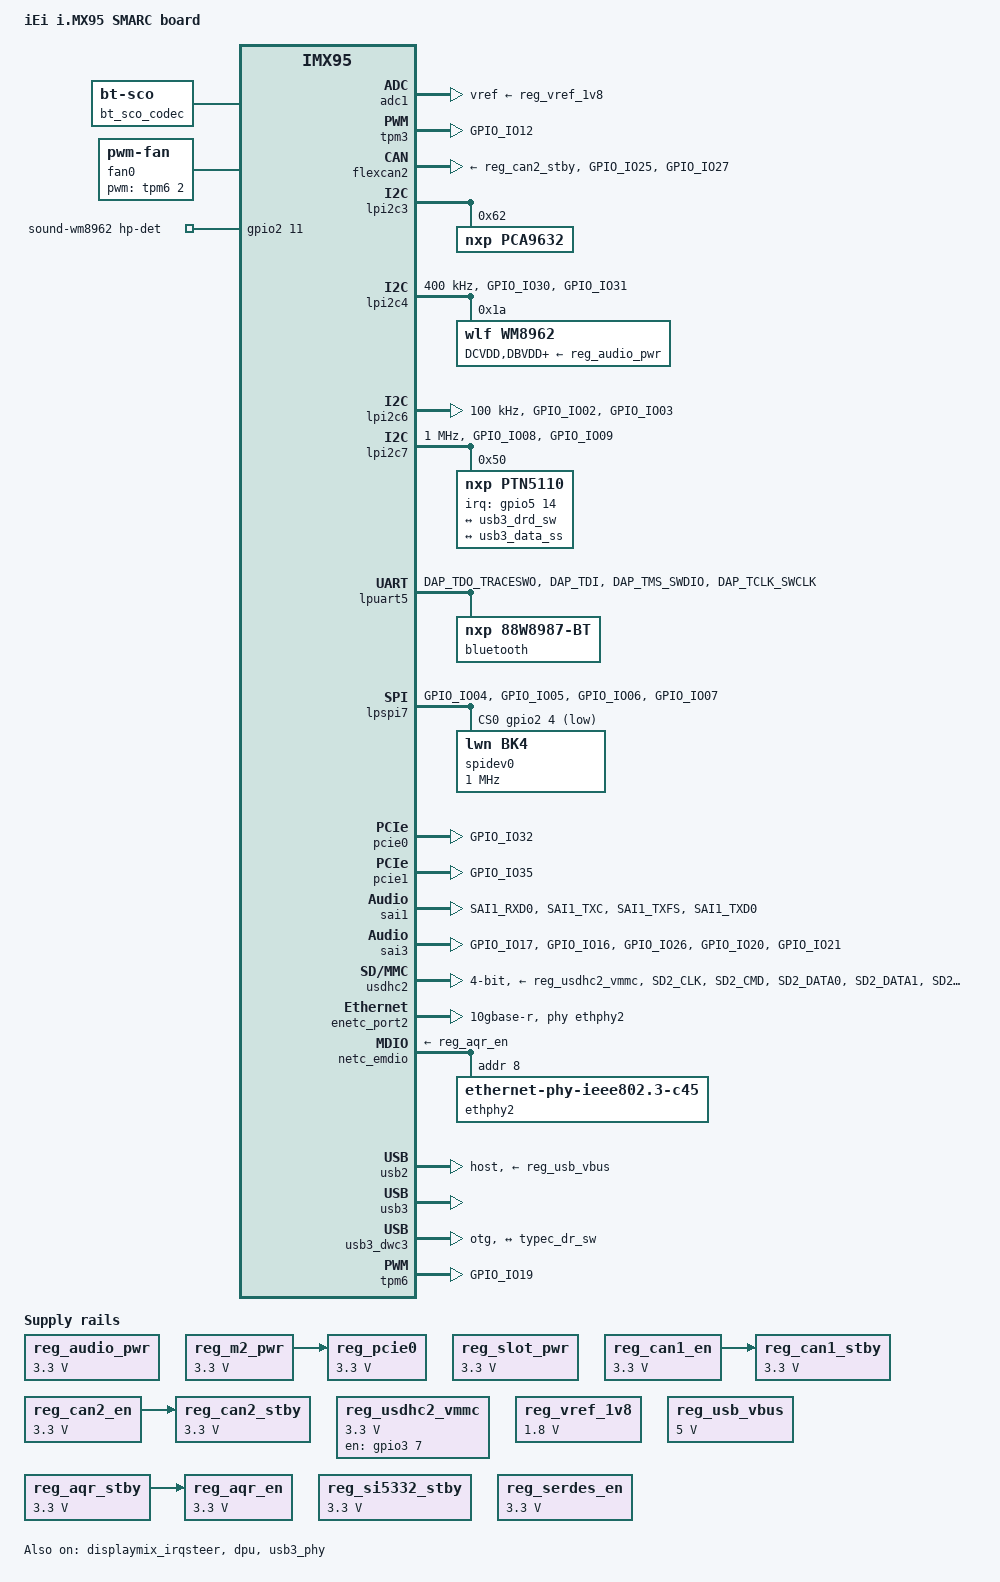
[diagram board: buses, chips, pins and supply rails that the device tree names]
// SPDX-License-Identifier: (GPL-2.0+ OR MIT)
/*
 * Copyright 2024 NXP
 * Copyright 2026 IEI
 */

/dts-v1/;

#include "imx95-smarc.dtsi"

/ {
	model = "iEi i.MX95 SMARC board";
	compatible = "iei,imx95-smarc", "fsl,imx95-19x19-evk", "fsl,imx95";

	aliases {
		mmc0 = &usdhc1;
		mmc1 = &usdhc2;
		serial0 = &lpuart1;
		ethernet0 = &enetc_port0;
		ethernet1 = &enetc_port2;
	};

	bt_sco_codec: audio-codec-bt-sco {
		#sound-dai-cells = <1>;
		compatible = "linux,bt-sco";
	};

	chosen {
		stdout-path = &lpuart1;
		#address-cells = <2>;
		#size-cells = <2>;
		/* will be updated by U-boot when booting Xen */
		module@0 {
			bootargs = "earlycon=xen console=hvc0 loglevel=8 root=/dev/mmcblk1p2 rw rootwait";
			compatible = "xen,linux-zimage", "xen,multiboot-module";
			reg = <0x00000000 0x9e000000 0x00000000 0x2000000>;
		};
	};

	fan0: pwm-fan {
		compatible = "pwm-fan";
		#cooling-cells = <2>;
		pwms = <&tpm6 2 4000000 PWM_POLARITY_INVERTED>;
		cooling-levels = <64 128 192 255>;
	};

	reg_audio_pwr: regulator-audio-pwr {
		compatible = "regulator-fixed";
		regulator-name = "audio-pwr";
		regulator-min-microvolt = <3300000>;
		regulator-max-microvolt = <3300000>;
	};

	reg_m2_pwr: regulator-m2-pwr {
		compatible = "regulator-fixed";
		regulator-name = "M.2-power";
		regulator-min-microvolt = <3300000>;
		regulator-max-microvolt = <3300000>;
		/*
		 * M.2 device only can be enabled(W_DISABLE1#) after all Power
		 * Rails reach their minimum operating voltage (PCI Express M.2
		 * Specification r5.1 3.1.4 Power-up Timing).
		 * Set a delay equal to the max value of Tsettle here.
		 */
		startup-delay-us = <5000>;
	};

	reg_pcie0: regulator-pcie {
		compatible = "regulator-fixed";
		regulator-name = "PCIE_WLAN_EN";
		regulator-min-microvolt = <3300000>;
		regulator-max-microvolt = <3300000>;
		vin-supply = <&reg_m2_pwr>;
	};

	reg_slot_pwr: regulator-slot-pwr {
		compatible = "regulator-fixed";
		regulator-name = "PCIe slot-power";
		regulator-min-microvolt = <3300000>;
		regulator-max-microvolt = <3300000>;
	};

	reg_can1_stby: regulator-can1-stby {
		compatible = "regulator-fixed";
		regulator-name = "can1-stby";
		regulator-min-microvolt = <3300000>;
		regulator-max-microvolt = <3300000>;
		vin-supply = <&reg_can1_en>;
	};

	reg_can1_en: regulator-can1-en {
		compatible = "regulator-fixed";
		regulator-name = "can1-en";
		regulator-min-microvolt = <3300000>;
		regulator-max-microvolt = <3300000>;
	};

	reg_can2_stby: regulator-can2-stby {
		compatible = "regulator-fixed";
		regulator-name = "can2-stby";
		regulator-min-microvolt = <3300000>;
		regulator-max-microvolt = <3300000>;
		vin-supply = <&reg_can2_en>;
	};

	reg_can2_en: regulator-can2-en {
		compatible = "regulator-fixed";
		regulator-name = "can2-en";
		regulator-min-microvolt = <3300000>;
		regulator-max-microvolt = <3300000>;
	};

	reg_usdhc2_vmmc: regulator-usdhc2 {
		compatible = "regulator-fixed";
		pinctrl-names = "default";
		pinctrl-0 = <&pinctrl_reg_usdhc2_vmmc>;
		regulator-name = "VDD_SD2_3V3";
		regulator-min-microvolt = <3300000>;
		regulator-max-microvolt = <3300000>;
		gpio = <&gpio3 7 GPIO_ACTIVE_HIGH>;
		enable-active-high;
		off-on-delay-us = <12000>;
	};

	reg_vref_1v8: regulator-adc-vref {
		compatible = "regulator-fixed";
		regulator-name = "vref_1v8";
		regulator-min-microvolt = <1800000>;
		regulator-max-microvolt = <1800000>;
	};

	reg_usb_vbus: regulator-vbus {
		compatible = "regulator-fixed";
		regulator-name = "USB_VBUS";
		regulator-min-microvolt = <5000000>;
		regulator-max-microvolt = <5000000>;
	};

	sound-bt-sco {
		compatible = "simple-audio-card";
		simple-audio-card,name = "bt-sco-audio";
		simple-audio-card,format = "dsp_a";
		simple-audio-card,bitclock-inversion;
		simple-audio-card,frame-master = <&btcpu>;
		simple-audio-card,bitclock-master = <&btcpu>;

		btcpu: simple-audio-card,cpu {
			sound-dai = <&sai1>;
			dai-tdm-slot-num = <2>;
			dai-tdm-slot-width = <16>;
		};

		simple-audio-card,codec {
			sound-dai = <&bt_sco_codec 1>;
		};
	};

	sound-wm8962 {
		compatible = "fsl,imx-audio-wm8962";
		pinctrl-names = "default";
		pinctrl-0 = <&pinctrl_hp>;
		model = "wm8962-audio";
		audio-cpu = <&sai3>;
		audio-codec = <&wm8962>;
		hp-det-gpio = <&gpio2 11 GPIO_ACTIVE_HIGH>;
		audio-routing = "Headphone Jack", "HPOUTL",
				"Headphone Jack", "HPOUTR",
				"Ext Spk", "SPKOUTL",
				"Ext Spk", "SPKOUTR",
				"AMIC", "MICBIAS",
				"IN3R", "AMIC",
				"IN1R", "AMIC";
	};

	reg_aqr_stby: regulator-aqr-stby {
		compatible = "regulator-fixed";
		regulator-name = "aqr-stby";
		regulator-min-microvolt = <3300000>;
		regulator-max-microvolt = <3300000>;
	};

	reg_aqr_en: regulator-aqr-en {
		compatible = "regulator-fixed";
		regulator-name = "aqr-en";
		regulator-min-microvolt = <3300000>;
		regulator-max-microvolt = <3300000>;
		vin-supply = <&reg_aqr_stby>;
	};

	reg_si5332_stby: regulator-si5332-stby {
		compatible = "regulator-fixed";
		regulator-name = "si5332-stby";
		regulator-min-microvolt = <3300000>;
		regulator-max-microvolt = <3300000>;
		regulator-always-on;
	};

	reg_serdes_en: regulator-mac-en {
		compatible = "regulator-fixed";
		regulator-name = "mac-en";
		regulator-min-microvolt = <3300000>;
		regulator-max-microvolt = <3300000>;
	};
};

&adc1 {
	vref-supply = <&reg_vref_1v8>;
	status = "okay";
};

&displaymix_irqsteer {
	status = "okay";
};

&dpu {
	status = "okay";
};

&tpm3 {
	pinctrl-names = "default";
	pinctrl-0 = <&pinctrl_tpm3>;
	status = "okay";
};

/* pin conflict with PDM */
&flexcan1 {
	pinctrl-names = "default";
	pinctrl-0 = <&pinctrl_flexcan1>;
	xceiver-supply = <&reg_can1_stby>;
	status = "disabled";
};

&flexcan2 {
	pinctrl-names = "default";
	pinctrl-0 = <&pinctrl_flexcan2>;
	xceiver-supply = <&reg_can2_stby>;
	status = "okay";
};

&lpi2c3 {
	pca9632: pca9632@62 {
		compatible = "nxp,pca9632";
		#address-cells = <1>;
		#size-cells = <0>;
		reg = <0x62>;

		led_baclklight: led@0 {
			label = "backlight";
			reg = <0>;
			linux,default-trigger = "none";
		};
	};
};

&lpi2c4 {
	clock-frequency = <400000>;
	pinctrl-names = "default";
	pinctrl-0 = <&pinctrl_lpi2c4>;
	status = "okay";

	wm8962: audio-codec@1a {
		compatible = "wlf,wm8962";
		reg = <0x1a>;
		clocks = <&scmi_clk IMX95_CLK_SAI3>;
		DCVDD-supply = <&reg_audio_pwr>;
		DBVDD-supply = <&reg_audio_pwr>;
		AVDD-supply = <&reg_audio_pwr>;
		CPVDD-supply = <&reg_audio_pwr>;
		MICVDD-supply = <&reg_audio_pwr>;
		PLLVDD-supply = <&reg_audio_pwr>;
		SPKVDD1-supply = <&reg_audio_pwr>;
		SPKVDD2-supply = <&reg_audio_pwr>;
		gpio-cfg = < 0x0000 /* 0:Default */
			     0x0000 /* 1:Default */
			     0x0000 /* 2:FN_DMICCLK */
			     0x0000 /* 3:Default */
			     0x0000 /* 4:FN_DMICCDAT */
			     0x0000 /* 5:Default */
			   >;
	};

};

&lpi2c6 {
	clock-frequency = <100000>;
	pinctrl-names = "default";
	pinctrl-0 = <&pinctrl_lpi2c6>;
	status = "okay";
};

&lpi2c7 {
	clock-frequency = <1000000>;
	pinctrl-names = "default";
	pinctrl-0 = <&pinctrl_lpi2c7>;
	status = "okay";

	ptn5110: tcpc@50 {
		compatible = "nxp,ptn5110";
		reg = <0x50>;
		interrupt-parent = <&gpio5>;
		interrupts = <14 IRQ_TYPE_LEVEL_LOW>;
		pinctrl-names = "default";
		pinctrl-0 = <&pinctrl_ptn5110>;

		port {
			typec_dr_sw: endpoint {
				remote-endpoint = <&usb3_drd_sw>;
			};
		};

		typec_con: connector {
			compatible = "usb-c-connector";
			label = "USB-C";
			power-role = "dual";
			data-role = "dual";
			try-power-role = "sink";
			source-pdos = <PDO_FIXED(5000, 3000, PDO_FIXED_USB_COMM)>;
			sink-pdos = <PDO_FIXED(5000, 0, PDO_FIXED_USB_COMM)>;
			op-sink-microwatt = <0>;
			self-powered;

			ports {
				#address-cells = <1>;
				#size-cells = <0>;

				port@1 {
					reg = <1>;
					typec_con_ss: endpoint {
						remote-endpoint = <&usb3_data_ss>;
					};
				};
			};
		};
	};
};

&lpuart5 {
	/* BT */
	pinctrl-names = "default";
	pinctrl-0 = <&pinctrl_uart5>;
	status = "okay";

	bluetooth {
		compatible = "nxp,88w8987-bt";
	};
};

&lpspi7 {
	fsl,spi-num-chipselects = <1>;
	pinctrl-names = "default", "sleep";
	pinctrl-0 = <&pinctrl_lpspi7>;
	pinctrl-1 = <&pinctrl_lpspi7_sleep>;
	cs-gpios = <&gpio2 4 GPIO_ACTIVE_LOW>;
	status = "okay";

	spidev0: spi@0 {
		reg = <0>;
		compatible = "lwn,bk4";
		spi-max-frequency = <1000000>;
	};
};

&pcie0 {
	pinctrl-0 = <&pinctrl_pcie0>;
	pinctrl-names = "default";
	vpcie-supply = <&reg_pcie0>;
	status = "okay";
};

&pcie1 {
	pinctrl-0 = <&pinctrl_pcie1>;
	pinctrl-names = "default";
	vpcie-supply = <&reg_slot_pwr>;
	status = "okay";
};

&pcie1_ep {
	pinctrl-0 = <&pinctrl_pcie1>;
	pinctrl-names = "default";
	vpcie-supply = <&reg_slot_pwr>;
	status = "disabled";
};

&sai1 {
	#sound-dai-cells = <0>;
	pinctrl-names = "default", "sleep";
	pinctrl-0 = <&pinctrl_sai1>;
	pinctrl-1 = <&pinctrl_sai1_sleep>;
	assigned-clocks = <&scmi_clk IMX95_CLK_AUDIOPLL1_VCO>,
			  <&scmi_clk IMX95_CLK_AUDIOPLL2_VCO>,
			  <&scmi_clk IMX95_CLK_AUDIOPLL1>,
			  <&scmi_clk IMX95_CLK_AUDIOPLL2>,
			  <&scmi_clk IMX95_CLK_SAI1>;
	assigned-clock-parents = <0>, <0>, <0>, <0>,
				 <&scmi_clk IMX95_CLK_AUDIOPLL1>;
	assigned-clock-rates = <3932160000>,
			       <3612672000>, <393216000>,
			       <361267200>, <12288000>;
	fsl,sai-mclk-direction-output;
	status = "okay";
};

&sai3 {
	#sound-dai-cells = <0>;
	pinctrl-names = "default", "sleep";
	pinctrl-0 = <&pinctrl_sai3>;
	pinctrl-1 = <&pinctrl_sai3_sleep>;
	assigned-clocks = <&scmi_clk IMX95_CLK_AUDIOPLL1_VCO>,
			  <&scmi_clk IMX95_CLK_AUDIOPLL2_VCO>,
			  <&scmi_clk IMX95_CLK_AUDIOPLL1>,
			  <&scmi_clk IMX95_CLK_AUDIOPLL2>,
			  <&scmi_clk IMX95_CLK_SAI3>;
	assigned-clock-parents = <0>, <0>, <0>, <0>,
				 <&scmi_clk IMX95_CLK_AUDIOPLL1>;
	assigned-clock-rates = <3932160000>,
			       <3612672000>, <393216000>,
			       <361267200>, <12288000>;
	fsl,sai-mclk-direction-output;
	status = "okay";
};

&usdhc2 {
	pinctrl-names = "default", "state_100mhz", "state_200mhz", "sleep";
	pinctrl-0 = <&pinctrl_usdhc2>, <&pinctrl_usdhc2_gpio>;
	pinctrl-1 = <&pinctrl_usdhc2_100mhz>, <&pinctrl_usdhc2_gpio>;
	pinctrl-2 = <&pinctrl_usdhc2_200mhz>, <&pinctrl_usdhc2_gpio>;
	pinctrl-3 = <&pinctrl_usdhc2>, <&pinctrl_usdhc2_gpio>;
	cd-gpios = <&gpio3 0 GPIO_ACTIVE_LOW>;
	fsl,cd-gpio-wakeup-disable;
	vmmc-supply = <&reg_usdhc2_vmmc>;
	bus-width = <4>;
	status = "okay";
};

&enetc_port2 {
	phy-handle = <&ethphy2>;
	phy-mode = "10gbase-r";
	serdes-supply = <&reg_serdes_en>;
	managed = "in-band-status";
	status = "okay";
};

&netc_emdio {
	phy-supply = <&reg_aqr_en>;

	ethphy2: ethernet-phy@8 {
		compatible = "ethernet-phy-ieee802.3-c45";
		reg = <8>;
	};
};

&usb2 {
	dr_mode = "host";
	vbus-supply = <&reg_usb_vbus>;
	disable-over-current;
	status = "okay";
};

&usb3 {
	status = "okay";
};

&usb3_phy {
	fsl,phy-pcs-tx-deemph-3p5db-attenuation-db = <17>;
	fsl,phy-pcs-tx-swing-full-percent = <100>;
	fsl,phy-tx-preemp-amp-tune-microamp = <600>;
	fsl,phy-tx-vboost-level-microvolt = <1156>;
	status = "okay";

	port {
		usb3_data_ss: endpoint {
			remote-endpoint = <&typec_con_ss>;
		};
	};
};

&usb3_dwc3 {
	dr_mode = "otg";
	hnp-disable;
	srp-disable;
	adp-disable;
	usb-role-switch;
	role-switch-default-mode = "none";
	snps,dis-u1-entry-quirk;
	snps,dis-u2-entry-quirk;
	status = "okay";

	port {
		usb3_drd_sw: endpoint {
			remote-endpoint = <&typec_dr_sw>;
		};
	};
};

&scmi_iomuxc {
	pinctrl-names = "default";
	pinctrl-0 = <&pinctrl_hog>;

	pinctrl_hog: hoggrp {
		fsl,pins = <
			IMX95_PAD_GPIO_IO33__GPIO5_IO_BIT13				0x31e
		>;
	};

	pinctrl_hp: hpgrp {
		fsl,pins = <
			IMX95_PAD_GPIO_IO11__GPIO2_IO_BIT11		0x31e
		>;
	};

	pinctrl_tpm3: tpm3grp {
		fsl,pins = <
			IMX95_PAD_GPIO_IO12__TPM3_CH2			0x51e
		>;
	};

	pinctrl_flexcan1: flexcan1grp {
		fsl,pins = <
			IMX95_PAD_PDM_CLK__AONMIX_TOP_CAN1_TX		0x39e
			IMX95_PAD_PDM_BIT_STREAM0__AONMIX_TOP_CAN1_RX	0x39e
		>;
	};

	pinctrl_flexcan2: flexcan2grp {
		fsl,pins = <
			IMX95_PAD_GPIO_IO25__CAN2_TX			0x39e
			IMX95_PAD_GPIO_IO27__CAN2_RX			0x39e
		>;
	};

	pinctrl_lpi2c1: lpi2c1grp {
		fsl,pins = <
			IMX95_PAD_I2C1_SCL__AONMIX_TOP_LPI2C1_SCL	0x40000b9e
			IMX95_PAD_I2C1_SDA__AONMIX_TOP_LPI2C1_SDA	0x40000b9e
		>;
	};

	pinctrl_lpi2c4: lpi2c4grp {
		fsl,pins = <
			IMX95_PAD_GPIO_IO30__LPI2C4_SDA			0x40000b9e
			IMX95_PAD_GPIO_IO31__LPI2C4_SCL			0x40000b9e
		>;
	};

	pinctrl_lpi2c6: lpi2c6grp {
		fsl,pins = <
			IMX95_PAD_GPIO_IO02__LPI2C6_SDA			0x40000b9e
			IMX95_PAD_GPIO_IO03__LPI2C6_SCL			0x40000b9e
		>;
	};

	pinctrl_lpi2c7: lpi2c7grp {
		fsl,pins = <
			IMX95_PAD_GPIO_IO08__LPI2C7_SDA			0x40000b9e
			IMX95_PAD_GPIO_IO09__LPI2C7_SCL			0x40000b9e
		>;
	};

	pinctrl_pcie0: pcie0grp {
		fsl,pins = <
			IMX95_PAD_GPIO_IO32__HSIOMIX_TOP_PCIE1_CLKREQ_B		0x4000031e
		>;
	};

	pinctrl_pcie1: pcie1grp {
		fsl,pins = <
			IMX95_PAD_GPIO_IO35__HSIOMIX_TOP_PCIE2_CLKREQ_B		0x4000031e
		>;
	};

	pinctrl_ptn5110: ptn5110grp {
		fsl,pins = <
			IMX95_PAD_GPIO_IO34__GPIO5_IO_BIT14                     0x31e
		>;
	};

	pinctrl_sai1: sai1grp {
		fsl,pins = <
			IMX95_PAD_SAI1_RXD0__AONMIX_TOP_SAI1_RX_DATA_BIT0    0x31e
			IMX95_PAD_SAI1_TXC__AONMIX_TOP_SAI1_TX_BCLK      0x31e
			IMX95_PAD_SAI1_TXFS__AONMIX_TOP_SAI1_TX_SYNC     0x31e
			IMX95_PAD_SAI1_TXD0__AONMIX_TOP_SAI1_TX_DATA_BIT0    0x31e
		>;
	};

	pinctrl_sai1_sleep: sai1sleepgrp {
		fsl,pins = <
			IMX95_PAD_SAI1_RXD0__AONMIX_TOP_GPIO1_IO_BIT14			0x51e
			IMX95_PAD_SAI1_TXC__AONMIX_TOP_GPIO1_IO_BIT12			0x51e
			IMX95_PAD_SAI1_TXFS__AONMIX_TOP_GPIO1_IO_BIT11			0x51e
			IMX95_PAD_SAI1_TXD0__AONMIX_TOP_GPIO1_IO_BIT13			0x51e
		>;
	};

	pinctrl_sai2: sai2grp {
		fsl,pins = <
			IMX95_PAD_ENET2_MDIO__NETCMIX_TOP_SAI2_RX_BCLK			0x31e
			IMX95_PAD_ENET2_MDC__NETCMIX_TOP_SAI2_RX_SYNC			0x31e
			IMX95_PAD_ENET2_TD3__NETCMIX_TOP_SAI2_RX_DATA_BIT0		0x31e
			IMX95_PAD_ENET2_TD2__NETCMIX_TOP_SAI2_RX_DATA_BIT1		0x31e
			IMX95_PAD_ENET2_TXC__NETCMIX_TOP_SAI2_TX_BCLK			0x31e
			IMX95_PAD_ENET2_TX_CTL__NETCMIX_TOP_SAI2_TX_SYNC		0x31e
			IMX95_PAD_ENET2_RX_CTL__NETCMIX_TOP_SAI2_TX_DATA_BIT0		0x31e
			IMX95_PAD_ENET2_RXC__NETCMIX_TOP_SAI2_TX_DATA_BIT1		0x31e
			IMX95_PAD_ENET2_RD0__NETCMIX_TOP_SAI2_TX_DATA_BIT2		0x31e
			IMX95_PAD_ENET2_RD1__NETCMIX_TOP_SAI2_TX_DATA_BIT3		0x31e
			IMX95_PAD_ENET2_RD2__NETCMIX_TOP_SAI2_MCLK			0x31e
		>;
	};

	pinctrl_sai3: sai3grp {
		fsl,pins = <
			IMX95_PAD_GPIO_IO17__SAI3_MCLK				0x31e
			IMX95_PAD_GPIO_IO16__SAI3_TX_BCLK			0x31e
			IMX95_PAD_GPIO_IO26__SAI3_TX_SYNC			0x31e
			IMX95_PAD_GPIO_IO20__SAI3_RX_DATA_BIT0			0x31e
			IMX95_PAD_GPIO_IO21__SAI3_TX_DATA_BIT0			0x31e
		>;
	};

	pinctrl_sai3_sleep: sai3sleepgrp {
		fsl,pins = <
			IMX95_PAD_GPIO_IO17__GPIO2_IO_BIT17			0x51e
			IMX95_PAD_GPIO_IO16__GPIO2_IO_BIT16			0x51e
			IMX95_PAD_GPIO_IO26__GPIO2_IO_BIT26			0x51e
			IMX95_PAD_GPIO_IO20__GPIO2_IO_BIT20			0x51e
			IMX95_PAD_GPIO_IO21__GPIO2_IO_BIT21			0x51e
		>;
	};

	pinctrl_tpm6: tpm6grp {
		fsl,pins = <
			IMX95_PAD_GPIO_IO19__TPM6_CH2			0x51e
		>;
	};

	pinctrl_uart5: uart5grp {
		fsl,pins = <
			IMX95_PAD_DAP_TDO_TRACESWO__LPUART5_TX			0x31e
			IMX95_PAD_DAP_TDI__LPUART5_RX				0x31e
			IMX95_PAD_DAP_TMS_SWDIO__LPUART5_RTS_B			0x31e
			IMX95_PAD_DAP_TCLK_SWCLK__LPUART5_CTS_B			0x31e
		>;
	};

	pinctrl_lpspi7: lpspi7grp {
		fsl,pins = <
			IMX95_PAD_GPIO_IO04__GPIO2_IO_BIT4	0x3fe
			IMX95_PAD_GPIO_IO05__LPSPI7_SIN		0x3fe
			IMX95_PAD_GPIO_IO06__LPSPI7_SOUT	0x3fe
			IMX95_PAD_GPIO_IO07__LPSPI7_SCK		0x3fe
		>;
	};

	pinctrl_lpspi7_sleep: lpspi7sleepgrp {
		fsl,pins = <
			IMX95_PAD_GPIO_IO04__GPIO2_IO_BIT4		0x5fe
			IMX95_PAD_GPIO_IO05__GPIO2_IO_BIT5		0x5fe
			IMX95_PAD_GPIO_IO06__GPIO2_IO_BIT6		0x5fe
			IMX95_PAD_GPIO_IO07__GPIO2_IO_BIT7		0x5fe
		>;
	};

	pinctrl_mipi_dsi_csi: mipidsigrp {
		fsl,pins = <
			IMX95_PAD_CCM_CLKO2__GPIO3_IO_BIT27			0x31e
		>;
	};

	pinctrl_spdif: spdifgrp {
		fsl,pins = <
			IMX95_PAD_GPIO_IO22__SPDIF_IN				0x31e
			IMX95_PAD_GPIO_IO23__SPDIF_OUT				0x31e
		>;
	};

	pinctrl_reg_usdhc2_vmmc: regusdhc2vmmcgrp {
		fsl,pins = <
			IMX95_PAD_SD2_RESET_B__GPIO3_IO_BIT7		0x31e
		>;
	};

	pinctrl_usdhc2_gpio: usdhc2gpiogrp {
		fsl,pins = <
			IMX95_PAD_SD2_CD_B__GPIO3_IO_BIT0		0x31e
		>;
	};

	pinctrl_usdhc2: usdhc2grp {
		fsl,pins = <
			IMX95_PAD_SD2_CLK__USDHC2_CLK			0x158e
			IMX95_PAD_SD2_CMD__USDHC2_CMD			0x138e
			IMX95_PAD_SD2_DATA0__USDHC2_DATA0		0x138e
			IMX95_PAD_SD2_DATA1__USDHC2_DATA1		0x138e
			IMX95_PAD_SD2_DATA2__USDHC2_DATA2		0x138e
			IMX95_PAD_SD2_DATA3__USDHC2_DATA3		0x138e
			IMX95_PAD_SD2_VSELECT__USDHC2_VSELECT		0x51e
		>;
	};

	pinctrl_usdhc2_100mhz: usdhc2-100mhzgrp {
		fsl,pins = <
			IMX95_PAD_SD2_CLK__USDHC2_CLK			0x158e
			IMX95_PAD_SD2_CMD__USDHC2_CMD			0x138e
			IMX95_PAD_SD2_DATA0__USDHC2_DATA0		0x138e
			IMX95_PAD_SD2_DATA1__USDHC2_DATA1		0x138e
			IMX95_PAD_SD2_DATA2__USDHC2_DATA2		0x138e
			IMX95_PAD_SD2_DATA3__USDHC2_DATA3		0x138e
			IMX95_PAD_SD2_VSELECT__USDHC2_VSELECT		0x51e
		>;
	};

	pinctrl_usdhc2_200mhz: usdhc2-200mhzgrp {
		fsl,pins = <
			IMX95_PAD_SD2_CLK__USDHC2_CLK			0x158e
			IMX95_PAD_SD2_CMD__USDHC2_CMD			0x138e
			IMX95_PAD_SD2_DATA0__USDHC2_DATA0		0x138e
			IMX95_PAD_SD2_DATA1__USDHC2_DATA1		0x138e
			IMX95_PAD_SD2_DATA2__USDHC2_DATA2		0x138e
			IMX95_PAD_SD2_DATA3__USDHC2_DATA3		0x138e
			IMX95_PAD_SD2_VSELECT__USDHC2_VSELECT		0x51e
		>;
	};
};

&thermal_zones {
	a55-thermal {
		trips {
			atrip2: trip2 {
				temperature = <55000>;
				hysteresis = <2000>;
				type = "active";
			};

			atrip3: trip3 {
				temperature = <65000>;
				hysteresis = <2000>;
				type = "active";
			};

			atrip4: trip4 {
				temperature = <75000>;
				hysteresis = <2000>;
				type = "active";
			};
		};

		cooling-maps {
			map1 {
				trip = <&atrip2>;
				cooling-device = <&fan0 0 1>;
			};

			map2 {
				trip = <&atrip3>;
				cooling-device = <&fan0 1 2>;
			};

			map3 {
				trip = <&atrip4>;
				cooling-device = <&fan0 2 3>;
			};
		};
	};
};

&tpm6 {
	pinctrl-names = "default";
	pinctrl-0 = <&pinctrl_tpm6>;
	pwm-rst;
	status = "okay";
};
